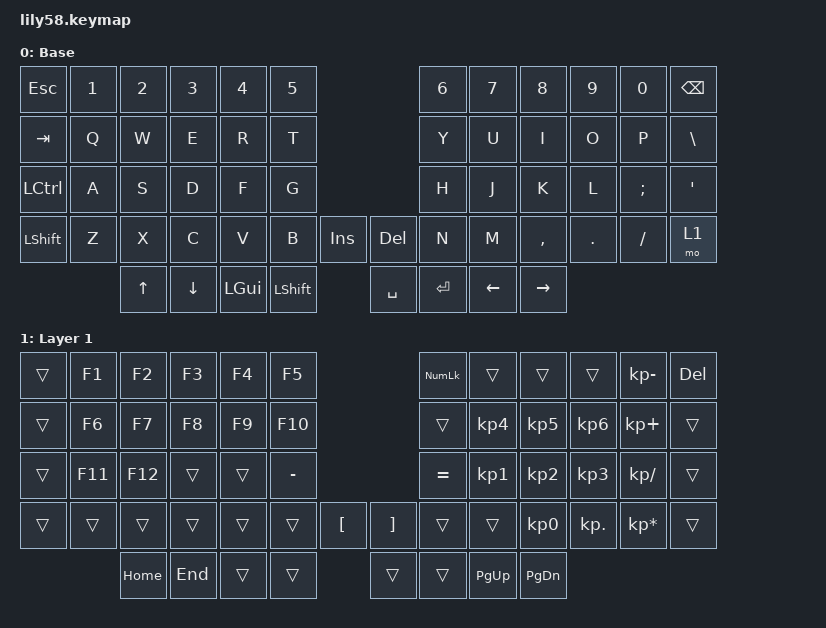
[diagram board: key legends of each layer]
/*
 * Lily58 ZMK keymap
 * Layers transcribed from ZMK Studio screenshots.
 */

#include <behaviors.dtsi>
#include <dt-bindings/zmk/keys.h>

/ {
    keymap {
        compatible = "zmk,keymap";

        base_layer {
            display-name = "Base";
            bindings = <
// ,------------------------------------------------.                    ,------------------------------------------------.
   &kp ESC   &kp N1   &kp N2   &kp N3   &kp N4   &kp N5                      &kp N6   &kp N7   &kp N8    &kp N9   &kp N0    &kp BSPC
   &kp TAB   &kp Q    &kp W    &kp E    &kp R    &kp T                       &kp Y    &kp U    &kp I     &kp O    &kp P     &kp BSLH
   &kp LCTRL &kp A    &kp S    &kp D    &kp F    &kp G                       &kp H    &kp J    &kp K     &kp L    &kp SEMI  &kp SQT
   &kp LSHFT &kp Z    &kp X    &kp C    &kp V    &kp B    &kp INS   &kp DEL  &kp N    &kp M    &kp COMMA &kp DOT  &kp FSLH  &mo 1
//                    `------------------------------------------'  `------------------------------------------'
                          &kp UP   &kp DOWN &kp LGUI &kp LSHFT        &kp SPACE &kp RET  &kp LEFT &kp RIGHT
            >;
        };

        layer_1 {
            display-name = "Layer 1";
            bindings = <
// ,------------------------------------------------.                    ,-------------------------------------------------------------.
   &trans    &kp F1   &kp F2   &kp F3   &kp F4   &kp F5                      &kp KP_NUM &trans    &trans    &trans    &kp KP_MINUS    &kp DEL
   &trans    &kp F6   &kp F7   &kp F8   &kp F9   &kp F10                     &trans     &kp KP_N4 &kp KP_N5 &kp KP_N6 &kp KP_PLUS     &trans
   &trans    &kp F11  &kp F12  &trans   &trans   &kp MINUS                   &kp EQUAL  &kp KP_N1 &kp KP_N2 &kp KP_N3 &kp KP_DIVIDE   &trans
   &trans    &trans   &trans   &trans   &trans   &trans   &kp LBKT  &kp RBKT &trans     &trans    &kp KP_N0 &kp KP_DOT &kp KP_MULTIPLY &trans
//                    `------------------------------------------'  `------------------------------------------'
                          &kp HOME &kp END  &trans   &trans           &trans    &trans   &kp PG_UP &kp PG_DN
            >;
        };

        // Empty layers for ZMK Studio to fill in. Ignored by non-Studio builds.
        extra1 { status = "reserved"; };
        extra2 { status = "reserved"; };
        extra3 { status = "reserved"; };
        extra4 { status = "reserved"; };
    };
};
